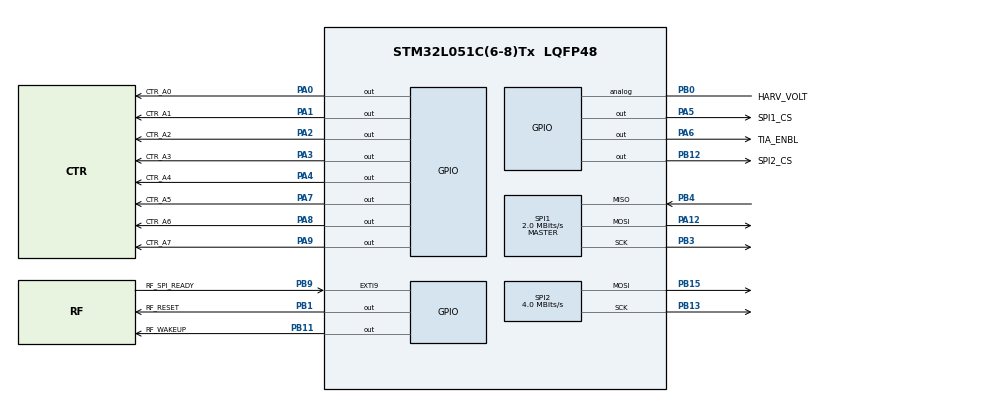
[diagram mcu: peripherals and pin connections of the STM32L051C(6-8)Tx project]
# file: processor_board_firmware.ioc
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Dma.Request0=SPI2_TX
Dma.Request1=SPI1_RX
Dma.Request2=SPI1_TX
Dma.SPI1_RX.1.Direction=DMA_PERIPH_TO_MEMORY
Dma.SPI1_RX.1.Instance=DMA1_Channel2
Dma.SPI1_RX.1.MemDataAlignment=DMA_MDATAALIGN_BYTE
Dma.SPI1_RX.1.MemInc=DMA_MINC_ENABLE
Dma.SPI1_RX.1.Mode=DMA_NORMAL
Dma.SPI1_RX.1.PeriphDataAlignment=DMA_PDATAALIGN_BYTE
Dma.SPI1_RX.1.PeriphInc=DMA_PINC_DISABLE
Dma.SPI1_RX.1.Priority=DMA_PRIORITY_LOW
Dma.SPI1_TX.2.Direction=DMA_MEMORY_TO_PERIPH
Dma.SPI1_TX.2.Instance=DMA1_Channel3
Dma.SPI1_TX.2.MemDataAlignment=DMA_MDATAALIGN_BYTE
Dma.SPI1_TX.2.MemInc=DMA_MINC_ENABLE
Dma.SPI1_TX.2.Mode=DMA_NORMAL
Dma.SPI1_TX.2.PeriphDataAlignment=DMA_PDATAALIGN_BYTE
Dma.SPI1_TX.2.PeriphInc=DMA_PINC_DISABLE
Dma.SPI1_TX.2.Priority=DMA_PRIORITY_LOW
Dma.SPI2_TX.0.Direction=DMA_MEMORY_TO_PERIPH
Dma.SPI2_TX.0.Instance=DMA1_Channel5
Dma.SPI2_TX.0.MemDataAlignment=DMA_MDATAALIGN_BYTE
Dma.SPI2_TX.0.MemInc=DMA_MINC_ENABLE
Dma.SPI2_TX.0.Mode=DMA_NORMAL
Dma.SPI2_TX.0.PeriphDataAlignment=DMA_PDATAALIGN_BYTE
Dma.SPI2_TX.0.PeriphInc=DMA_PINC_DISABLE
Dma.SPI2_TX.0.Priority=DMA_PRIORITY_LOW
LPTIM1.ClockPrescaler=LPTIM_PRESCALER_DIV4
Mcu.Family=STM32L0
Mcu.Name=STM32L051C(6-8)Tx
Mcu.Package=LQFP48
NVIC.DMA1_Channel2_3_IRQn=true\:0\:0\:false\:false\:true\:false\:true\:true
NVIC.DMA1_Channel4_5_6_7_IRQn=true\:0\:0\:false\:false\:true\:false\:true\:true
NVIC.EXTI4_15_IRQn=true\:0\:0\:false\:false\:true\:true\:true\:true
NVIC.LPTIM1_IRQn=true\:0\:0\:false\:false\:true\:true\:true\:true
NVIC.TIM6_DAC_IRQn=true\:0\:0\:false\:false\:true\:true\:true\:true
PA0.GPIO_Label=CTR_A0
PA0.Signal=GPIO_Output
PA1.GPIO_Label=CTR_A1
PA1.Signal=GPIO_Output
PA12.Mode=Full_Duplex_Master
PA12.Signal=SPI1_MOSI
PA13.Mode=Serial_Wire
PA13.Signal=SYS_SWDIO
PA14.Mode=Serial_Wire
PA14.Signal=SYS_SWCLK
PA2.GPIO_Label=CTR_A2
PA2.Signal=GPIO_Output
PA3.GPIO_Label=CTR_A3
PA3.Signal=GPIO_Output
PA4.GPIO_Label=CTR_A4
PA4.Signal=GPIO_Output
PA5.GPIO_Label=SPI1_CS
PA5.PinState=GPIO_PIN_SET
PA5.Signal=GPIO_Output
PA6.GPIO_Label=TIA_ENBL
PA6.Signal=GPIO_Output
PA7.GPIO_Label=CTR_A5
PA7.Signal=GPIO_Output
PA8.GPIO_Label=CTR_A6
PA8.Signal=GPIO_Output
PA9.GPIO_Label=CTR_A7
PA9.Signal=GPIO_Output
PB0.GPIO_Label=HARV_VOLT
PB0.Signal=SharedAnalog_PB0
PB1.GPIO_Label=RF_RESET
PB1.GPIO_ModeDefaultOutputPP=GPIO_MODE_OUTPUT_OD
PB1.GPIO_PuPd=GPIO_NOPULL
PB1.Signal=GPIO_Output
PB11.GPIO_Label=RF_WAKEUP
PB11.Signal=GPIO_Output
PB12.GPIO_Label=SPI2_CS
PB12.PinState=GPIO_PIN_SET
PB12.Signal=GPIO_Output
PB13.Mode=TX_Only_Simplex_Unidirect_Master
PB13.Signal=SPI2_SCK
PB15.Mode=TX_Only_Simplex_Unidirect_Master
PB15.Signal=SPI2_MOSI
PB3.Mode=Full_Duplex_Master
PB3.Signal=SPI1_SCK
PB4.Mode=Full_Duplex_Master
PB4.Signal=SPI1_MISO
PB9.GPIO_Label=RF_SPI_READY
PB9.Signal=GPXTI9
ProjectManager.HeapSize=0x200
ProjectManager.StackSize=0x400
ProjectManager.TargetToolchain=STM32CubeIDE
RCC.AHBFreq_Value=16000000
RCC.APB1Freq_Value=16000000
RCC.APB1TimFreq_Value=16000000
RCC.APB2Freq_Value=16000000
RCC.APB2TimFreq_Value=16000000
RCC.HCLKFreq_Value=16000000
RCC.HSE_VALUE=8000000
RCC.HSI16_VALUE=16000000
RCC.HSI_VALUE=16000000
RCC.LSE_VALUE=32768
RCC.LptimClockSelection=RCC_LPTIM1CLKSOURCE_LSI
RCC.MSIClockRange=RCC_MSIRANGE_6
RCC.MSI_VALUE=4194000
RCC.PLLMUL=RCC_PLLMUL_4
RCC.PWR_Regulator_Voltage_Scale=PWR_REGULATOR_VOLTAGE_SCALE2
RCC.SYSCLKFreq_VALUE=16000000
RCC.SYSCLKSource=RCC_SYSCLKSOURCE_HSI
RCC.VCOOutputFreq_Value=64000000
SH.SharedAnalog_PB0.0=GPIO_Analog
SH.SharedAnalog_PB0.1=ADC_IN8
SPI1.BaudRatePrescaler=SPI_BAUDRATEPRESCALER_8
SPI1.CLKPhase=SPI_PHASE_2EDGE
SPI1.CalculateBaudRate=2.0 MBits/s
SPI1.Direction=SPI_DIRECTION_2LINES
SPI1.Mode=SPI_MODE_MASTER
SPI1.VirtualType=VM_MASTER
SPI2.BaudRatePrescaler=SPI_BAUDRATEPRESCALER_4
SPI2.CalculateBaudRate=4.0 MBits/s
SPI2.Direction=SPI_DIRECTION_2LINES
SPI2.Mode=SPI_MODE_MASTER
SPI2.VirtualType=VM_MASTER
VP_LPTIM1_VS_LPTIM_counterModeInternalClock.Mode=Counts__internal_clock_event_00
VP_TIM6_VS_ClockSourceINT.Mode=Enable_Timer
board=custom

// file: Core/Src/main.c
/* USER CODE BEGIN Header */
/**
  ******************************************************************************
  * @file           : main.c
  * @brief          : Main program body
  ******************************************************************************
  * @attention
  *
  * Copyright (c) 2026 STMicroelectronics.
  * All rights reserved.
  *
  * This software is licensed under terms that can be found in the LICENSE file
  * in the root directory of this software component.
  * If no LICENSE file comes with this software, it is provided AS-IS.
  *
  ******************************************************************************
  */
/* USER CODE END Header */
#include "main.h"

/* USER CODE BEGIN PD */
#define NUM_SENSORS 49
#define RX_BUFFER_SIZE 3
#define TIMEOUT_DURATION 100

#define PACKET_SIZE (NUM_SENSORS * 2) // 98 Bytes

#define FPS 30
#define FRAME_TIMER_PERIOD (37000 / (4 * FPS))

// 30us: 130 -- 620uA
// 50us: 450 -- 680uA total system
// 100us: 1250 -- 800uA
// 200us: 2800 -- 1030 uA
// 400us: 6000 -- 1.55 mA
// 500us: 7800 --1.86mA // at this point, enter stop mode during settling time. This was consuming around 1.1mA
#define SETTLING_TIME_PERIOD 450

#define ENABLE_RF
//#define RX_TESTER
/* USER CODE END PD */

/* USER CODE BEGIN PV */
uint16_t readoutBuffer[NUM_SENSORS]; // Buffer for entire frame
uint8_t rxDataBuffer[RX_BUFFER_SIZE]; // RX buffer for a single sensor
uint8_t txDataBuffer[RX_BUFFER_SIZE]; // TX buffer for a single sensor
uint8_t spi2TxBuffer[PACKET_SIZE];
/* USER CODE END PV */

void SystemClock_Config(void);
static void MX_GPIO_Init(void);
static void MX_DMA_Init(void);
static void MX_SPI2_Init(void);
static void MX_SPI1_Init(void);
static void MX_TIM6_Init(void);
static void MX_LPTIM1_Init(void);
/* USER CODE BEGIN PFP */
void set_mux(uint8_t addr);
void readout_sensors();
void transfer_to_rf();

static void SPI2_start_tx_dma(uint8_t *tx_buf, uint16_t len);
static void SPI1_start_rx_dma();
static void start_frame_timer();
static void start_settling_time_timer();
static void enter_stop_mode();

static void deinit_spi1();
static void reinit_spi1();
static void deinit_spi2();
static void reinit_spi2();
static void deinit_readout_pins();
static void reinit_readout_pins();
static void deinit_rf_pins();
static void reinit_rf_pins();
static void deinit_peripherals();
static void reinit_peripherals();
static void reinit_tim6();
static void deinit_tim6();

#ifdef RX_TESTER
void create_sequential_packet();
uint16_t packet_counter = 0;
#endif

volatile uint8_t spi1_rx_done = 0;
volatile uint8_t spi2_tx_done = 0;
volatile uint8_t addr = 0;
volatile uint8_t lptimer_wakeup_flag = 0;
volatile uint8_t tim6_wakeup_flag = 0;
volatile uint8_t rf_spi_ready_flag = 0;
/* USER CODE END PFP */

int main(void)
{

  /* MCU Configuration--------------------------------------------------------*/

  /* Reset of all peripherals, Initializes the Flash interface and the Systick. */
  LL_APB2_GRP1_EnableClock(LL_APB2_GRP1_PERIPH_SYSCFG);
  LL_APB1_GRP1_EnableClock(LL_APB1_GRP1_PERIPH_PWR);

  /* SysTick_IRQn interrupt configuration */
//  NVIC_SetPriority(SysTick_IRQn, 3);

  /* USER CODE BEGIN Init */
	for (int i = 0; i < NUM_SENSORS; i++) {
		readoutBuffer[i] = 0;
	}
	for (int i = 0; i < PACKET_SIZE; i++) {
		spi2TxBuffer[i] = 0;
	}
  /* USER CODE END Init */

  /* Configure the system clock */
  SystemClock_Config();

  /* Initialize all configured peripherals */
  MX_GPIO_Init();
  MX_DMA_Init();
  MX_SPI2_Init();
  MX_SPI1_Init();
  MX_TIM6_Init();
  MX_LPTIM1_Init();
  /* USER CODE BEGIN 2 */
#ifdef ENABLE_RF
	// Boot RF microcontroller
	LL_GPIO_SetPinMode(RF_RESET_GPIO_Port, RF_RESET_Pin, LL_GPIO_MODE_ANALOG);
	for (volatile int i = 0; i < 10000; i++) {
	  __NOP();
	}
#endif

	deinit_spi1();
	deinit_spi2();
	deinit_readout_pins();
	deinit_rf_pins();
	deinit_tim6();

	start_frame_timer();

	// Use HSI on wakeup
	LL_RCC_SetClkAfterWakeFromStop(LL_RCC_STOP_WAKEUPCLOCK_HSI);
	LL_PWR_SetRegulModeLP(LL_PWR_REGU_LPMODES_LOW_POWER);
	LL_FLASH_EnableSleepPowerDown();
  /* USER CODE END 2 */

  /* Infinite loop */
  /* USER CODE BEGIN WHILE */
  while (1)
  {
	  deinit_peripherals();
	  while (!lptimer_wakeup_flag)
		  enter_stop_mode();
	  lptimer_wakeup_flag = 0;
	  reinit_peripherals();

	  readout_sensors();

#ifdef RX_TESTER
	  create_sequential_packet();
#endif

#ifdef ENABLE_RF
	  transfer_to_rf();
#endif
    /* USER CODE END WHILE */

  }
}

void SystemClock_Config(void)
{
  LL_FLASH_SetLatency(LL_FLASH_LATENCY_1);
  while(LL_FLASH_GetLatency()!= LL_FLASH_LATENCY_1)
  {
  }
  LL_PWR_SetRegulVoltageScaling(LL_PWR_REGU_VOLTAGE_SCALE2);
  while (LL_PWR_IsActiveFlag_VOS() != 0)
  {
  }
  LL_RCC_HSI_Enable();

   /* Wait till HSI is ready */
  while(LL_RCC_HSI_IsReady() != 1)
  {

  }
  LL_RCC_HSI_SetCalibTrimming(16);
  LL_RCC_LSI_Enable();

   /* Wait till LSI is ready */
  while(LL_RCC_LSI_IsReady() != 1)
  {

  }
  LL_RCC_SetAHBPrescaler(LL_RCC_SYSCLK_DIV_1);
  LL_RCC_SetAPB1Prescaler(LL_RCC_APB1_DIV_1);
  LL_RCC_SetAPB2Prescaler(LL_RCC_APB2_DIV_1);
  LL_RCC_SetSysClkSource(LL_RCC_SYS_CLKSOURCE_HSI);

   /* Wait till System clock is ready */
  while(LL_RCC_GetSysClkSource() != LL_RCC_SYS_CLKSOURCE_STATUS_HSI)
  {

  }

//  LL_Init1msTick(16000000);

  LL_SetSystemCoreClock(16000000);
  LL_RCC_SetLPTIMClockSource(LL_RCC_LPTIM1_CLKSOURCE_LSI);
}

static void MX_LPTIM1_Init(void)
{

  /* Peripheral clock enable */
  LL_APB1_GRP1_EnableClock(LL_APB1_GRP1_PERIPH_LPTIM1);

  /* LPTIM1 interrupt Init */
  NVIC_SetPriority(LPTIM1_IRQn, 0);
  NVIC_EnableIRQ(LPTIM1_IRQn);

  LL_LPTIM_SetClockSource(LPTIM1, LL_LPTIM_CLK_SOURCE_INTERNAL);
  LL_LPTIM_SetPrescaler(LPTIM1, LL_LPTIM_PRESCALER_DIV4);
  LL_LPTIM_SetPolarity(LPTIM1, LL_LPTIM_OUTPUT_POLARITY_REGULAR);
  LL_LPTIM_SetUpdateMode(LPTIM1, LL_LPTIM_UPDATE_MODE_IMMEDIATE);
  LL_LPTIM_SetCounterMode(LPTIM1, LL_LPTIM_COUNTER_MODE_INTERNAL);
  LL_LPTIM_TrigSw(LPTIM1);

}

static void MX_SPI1_Init(void)
{

  LL_SPI_InitTypeDef SPI_InitStruct = {0};

  LL_GPIO_InitTypeDef GPIO_InitStruct = {0};

  /* Peripheral clock enable */
  LL_APB2_GRP1_EnableClock(LL_APB2_GRP1_PERIPH_SPI1);

  LL_IOP_GRP1_EnableClock(LL_IOP_GRP1_PERIPH_GPIOA);
  LL_IOP_GRP1_EnableClock(LL_IOP_GRP1_PERIPH_GPIOB);
  /**SPI1 GPIO Configuration
  PA12   ------> SPI1_MOSI
  PB3   ------> SPI1_SCK
  PB4   ------> SPI1_MISO
  */
  GPIO_InitStruct.Pin = LL_GPIO_PIN_12;
  GPIO_InitStruct.Mode = LL_GPIO_MODE_ALTERNATE;
  GPIO_InitStruct.Speed = LL_GPIO_SPEED_FREQ_VERY_HIGH;
  GPIO_InitStruct.OutputType = LL_GPIO_OUTPUT_PUSHPULL;
  GPIO_InitStruct.Pull = LL_GPIO_PULL_NO;
  GPIO_InitStruct.Alternate = LL_GPIO_AF_0;
  LL_GPIO_Init(GPIOA, &GPIO_InitStruct);

  GPIO_InitStruct.Pin = LL_GPIO_PIN_3;
  GPIO_InitStruct.Mode = LL_GPIO_MODE_ALTERNATE;
  GPIO_InitStruct.Speed = LL_GPIO_SPEED_FREQ_VERY_HIGH;
  GPIO_InitStruct.OutputType = LL_GPIO_OUTPUT_PUSHPULL;
  GPIO_InitStruct.Pull = LL_GPIO_PULL_NO;
  GPIO_InitStruct.Alternate = LL_GPIO_AF_0;
  LL_GPIO_Init(GPIOB, &GPIO_InitStruct);

  GPIO_InitStruct.Pin = LL_GPIO_PIN_4;
  GPIO_InitStruct.Mode = LL_GPIO_MODE_ALTERNATE;
  GPIO_InitStruct.Speed = LL_GPIO_SPEED_FREQ_VERY_HIGH;
  GPIO_InitStruct.OutputType = LL_GPIO_OUTPUT_PUSHPULL;
  GPIO_InitStruct.Pull = LL_GPIO_PULL_NO;
  GPIO_InitStruct.Alternate = LL_GPIO_AF_0;
  LL_GPIO_Init(GPIOB, &GPIO_InitStruct);

  /* SPI1 DMA Init */

  /* SPI1_RX Init */
  LL_DMA_SetPeriphRequest(DMA1, LL_DMA_CHANNEL_2, LL_DMA_REQUEST_1);

  LL_DMA_SetDataTransferDirection(DMA1, LL_DMA_CHANNEL_2, LL_DMA_DIRECTION_PERIPH_TO_MEMORY);

  LL_DMA_SetChannelPriorityLevel(DMA1, LL_DMA_CHANNEL_2, LL_DMA_PRIORITY_LOW);

  LL_DMA_SetMode(DMA1, LL_DMA_CHANNEL_2, LL_DMA_MODE_NORMAL);

  LL_DMA_SetPeriphIncMode(DMA1, LL_DMA_CHANNEL_2, LL_DMA_PERIPH_NOINCREMENT);

  LL_DMA_SetMemoryIncMode(DMA1, LL_DMA_CHANNEL_2, LL_DMA_MEMORY_INCREMENT);

  LL_DMA_SetPeriphSize(DMA1, LL_DMA_CHANNEL_2, LL_DMA_PDATAALIGN_BYTE);

  LL_DMA_SetMemorySize(DMA1, LL_DMA_CHANNEL_2, LL_DMA_MDATAALIGN_BYTE);

  /* SPI1_TX Init */
  LL_DMA_SetPeriphRequest(DMA1, LL_DMA_CHANNEL_3, LL_DMA_REQUEST_1);

  LL_DMA_SetDataTransferDirection(DMA1, LL_DMA_CHANNEL_3, LL_DMA_DIRECTION_MEMORY_TO_PERIPH);

  LL_DMA_SetChannelPriorityLevel(DMA1, LL_DMA_CHANNEL_3, LL_DMA_PRIORITY_LOW);

  LL_DMA_SetMode(DMA1, LL_DMA_CHANNEL_3, LL_DMA_MODE_NORMAL);

  LL_DMA_SetPeriphIncMode(DMA1, LL_DMA_CHANNEL_3, LL_DMA_PERIPH_NOINCREMENT);

  LL_DMA_SetMemoryIncMode(DMA1, LL_DMA_CHANNEL_3, LL_DMA_MEMORY_INCREMENT);

  LL_DMA_SetPeriphSize(DMA1, LL_DMA_CHANNEL_3, LL_DMA_PDATAALIGN_BYTE);

  LL_DMA_SetMemorySize(DMA1, LL_DMA_CHANNEL_3, LL_DMA_MDATAALIGN_BYTE);

  /* USER CODE BEGIN SPI1_Init 1 */
  LL_DMA_EnableIT_TC(DMA1, LL_DMA_CHANNEL_2);
  /* USER CODE END SPI1_Init 1 */
  /* SPI1 parameter configuration*/
  SPI_InitStruct.TransferDirection = LL_SPI_FULL_DUPLEX;
  SPI_InitStruct.Mode = LL_SPI_MODE_MASTER;
  SPI_InitStruct.DataWidth = LL_SPI_DATAWIDTH_8BIT;
  SPI_InitStruct.ClockPolarity = LL_SPI_POLARITY_LOW;
  SPI_InitStruct.ClockPhase = LL_SPI_PHASE_2EDGE;
  SPI_InitStruct.NSS = LL_SPI_NSS_SOFT;
  SPI_InitStruct.BaudRate = LL_SPI_BAUDRATEPRESCALER_DIV8;
  SPI_InitStruct.BitOrder = LL_SPI_MSB_FIRST;
  SPI_InitStruct.CRCCalculation = LL_SPI_CRCCALCULATION_DISABLE;
  SPI_InitStruct.CRCPoly = 7;
  LL_SPI_Init(SPI1, &SPI_InitStruct);
  LL_SPI_SetStandard(SPI1, LL_SPI_PROTOCOL_MOTOROLA);

}

static void MX_SPI2_Init(void)
{

  LL_SPI_InitTypeDef SPI_InitStruct = {0};

  LL_GPIO_InitTypeDef GPIO_InitStruct = {0};

  /* Peripheral clock enable */
  LL_APB1_GRP1_EnableClock(LL_APB1_GRP1_PERIPH_SPI2);

  LL_IOP_GRP1_EnableClock(LL_IOP_GRP1_PERIPH_GPIOB);
  /**SPI2 GPIO Configuration
  PB13   ------> SPI2_SCK
  PB15   ------> SPI2_MOSI
  */
  GPIO_InitStruct.Pin = LL_GPIO_PIN_13;
  GPIO_InitStruct.Mode = LL_GPIO_MODE_ALTERNATE;
  GPIO_InitStruct.Speed = LL_GPIO_SPEED_FREQ_VERY_HIGH;
  GPIO_InitStruct.OutputType = LL_GPIO_OUTPUT_PUSHPULL;
  GPIO_InitStruct.Pull = LL_GPIO_PULL_NO;
  GPIO_InitStruct.Alternate = LL_GPIO_AF_0;
  LL_GPIO_Init(GPIOB, &GPIO_InitStruct);

  GPIO_InitStruct.Pin = LL_GPIO_PIN_15;
  GPIO_InitStruct.Mode = LL_GPIO_MODE_ALTERNATE;
  GPIO_InitStruct.Speed = LL_GPIO_SPEED_FREQ_VERY_HIGH;
  GPIO_InitStruct.OutputType = LL_GPIO_OUTPUT_PUSHPULL;
  GPIO_InitStruct.Pull = LL_GPIO_PULL_NO;
  GPIO_InitStruct.Alternate = LL_GPIO_AF_0;
  LL_GPIO_Init(GPIOB, &GPIO_InitStruct);

  /* SPI2 DMA Init */

  /* SPI2_TX Init */
  LL_DMA_SetPeriphRequest(DMA1, LL_DMA_CHANNEL_5, LL_DMA_REQUEST_2);

  LL_DMA_SetDataTransferDirection(DMA1, LL_DMA_CHANNEL_5, LL_DMA_DIRECTION_MEMORY_TO_PERIPH);

  LL_DMA_SetChannelPriorityLevel(DMA1, LL_DMA_CHANNEL_5, LL_DMA_PRIORITY_LOW);

  LL_DMA_SetMode(DMA1, LL_DMA_CHANNEL_5, LL_DMA_MODE_NORMAL);

  LL_DMA_SetPeriphIncMode(DMA1, LL_DMA_CHANNEL_5, LL_DMA_PERIPH_NOINCREMENT);

  LL_DMA_SetMemoryIncMode(DMA1, LL_DMA_CHANNEL_5, LL_DMA_MEMORY_INCREMENT);

  LL_DMA_SetPeriphSize(DMA1, LL_DMA_CHANNEL_5, LL_DMA_PDATAALIGN_BYTE);

  LL_DMA_SetMemorySize(DMA1, LL_DMA_CHANNEL_5, LL_DMA_MDATAALIGN_BYTE);

  /* USER CODE BEGIN SPI2_Init 1 */
  LL_DMA_EnableIT_TC(DMA1, LL_DMA_CHANNEL_5);
  /* USER CODE END SPI2_Init 1 */
  /* SPI2 parameter configuration*/
  SPI_InitStruct.TransferDirection = LL_SPI_FULL_DUPLEX;
  SPI_InitStruct.Mode = LL_SPI_MODE_MASTER;
  SPI_InitStruct.DataWidth = LL_SPI_DATAWIDTH_8BIT;
  SPI_InitStruct.ClockPolarity = LL_SPI_POLARITY_LOW;
  SPI_InitStruct.ClockPhase = LL_SPI_PHASE_1EDGE;
  SPI_InitStruct.NSS = LL_SPI_NSS_SOFT;
  SPI_InitStruct.BaudRate = LL_SPI_BAUDRATEPRESCALER_DIV4;
  SPI_InitStruct.BitOrder = LL_SPI_MSB_FIRST;
  SPI_InitStruct.CRCCalculation = LL_SPI_CRCCALCULATION_DISABLE;
  SPI_InitStruct.CRCPoly = 7;
  LL_SPI_Init(SPI2, &SPI_InitStruct);
  LL_SPI_SetStandard(SPI2, LL_SPI_PROTOCOL_MOTOROLA);

}

static void MX_TIM6_Init(void)
{

  LL_TIM_InitTypeDef TIM_InitStruct = {0};

  /* Peripheral clock enable */
  LL_APB1_GRP1_EnableClock(LL_APB1_GRP1_PERIPH_TIM6);

  /* TIM6 interrupt Init */
  NVIC_SetPriority(TIM6_DAC_IRQn, 0);
  NVIC_EnableIRQ(TIM6_DAC_IRQn);

  TIM_InitStruct.Prescaler = 0;
  TIM_InitStruct.CounterMode = LL_TIM_COUNTERMODE_UP;
  TIM_InitStruct.Autoreload = SETTLING_TIME_PERIOD;
  LL_TIM_Init(TIM6, &TIM_InitStruct);
  LL_TIM_DisableARRPreload(TIM6);
  LL_TIM_SetTriggerOutput(TIM6, LL_TIM_TRGO_RESET);
  LL_TIM_DisableMasterSlaveMode(TIM6);
  /* USER CODE BEGIN TIM6_Init 2 */
  LL_TIM_SetOnePulseMode(TIM6, LL_TIM_ONEPULSEMODE_SINGLE);
  /* USER CODE END TIM6_Init 2 */

}

static void MX_DMA_Init(void)
{

  /* Init with LL driver */
  /* DMA controller clock enable */
  LL_AHB1_GRP1_EnableClock(LL_AHB1_GRP1_PERIPH_DMA1);

  /* DMA interrupt init */
  /* DMA1_Channel2_3_IRQn interrupt configuration */
  NVIC_SetPriority(DMA1_Channel2_3_IRQn, 0);
  NVIC_EnableIRQ(DMA1_Channel2_3_IRQn);
  /* DMA1_Channel4_5_6_7_IRQn interrupt configuration */
  NVIC_SetPriority(DMA1_Channel4_5_6_7_IRQn, 0);
  NVIC_EnableIRQ(DMA1_Channel4_5_6_7_IRQn);

}

static void MX_GPIO_Init(void)
{
  LL_EXTI_InitTypeDef EXTI_InitStruct = {0};
  LL_GPIO_InitTypeDef GPIO_InitStruct = {0};

  /* GPIO Ports Clock Enable */
  LL_IOP_GRP1_EnableClock(LL_IOP_GRP1_PERIPH_GPIOC);
  LL_IOP_GRP1_EnableClock(LL_IOP_GRP1_PERIPH_GPIOH);
  LL_IOP_GRP1_EnableClock(LL_IOP_GRP1_PERIPH_GPIOA);
  LL_IOP_GRP1_EnableClock(LL_IOP_GRP1_PERIPH_GPIOB);

  /**/
  LL_GPIO_ResetOutputPin(CTR_A0_GPIO_Port, CTR_A0_Pin);

  /**/
  LL_GPIO_ResetOutputPin(CTR_A1_GPIO_Port, CTR_A1_Pin);

  /**/
  LL_GPIO_ResetOutputPin(CTR_A2_GPIO_Port, CTR_A2_Pin);

  /**/
  LL_GPIO_ResetOutputPin(CTR_A3_GPIO_Port, CTR_A3_Pin);

  /**/
  LL_GPIO_ResetOutputPin(CTR_A4_GPIO_Port, CTR_A4_Pin);

  /**/
  LL_GPIO_ResetOutputPin(TIA_ENBL_GPIO_Port, TIA_ENBL_Pin);

  /**/
  LL_GPIO_ResetOutputPin(CTR_A5_GPIO_Port, CTR_A5_Pin);

  /**/
  LL_GPIO_ResetOutputPin(RF_RESET_GPIO_Port, RF_RESET_Pin);

  /**/
  LL_GPIO_ResetOutputPin(RF_WAKEUP_GPIO_Port, RF_WAKEUP_Pin);

  /**/
  LL_GPIO_ResetOutputPin(CTR_A6_GPIO_Port, CTR_A6_Pin);

  /**/
  LL_GPIO_ResetOutputPin(CTR_A7_GPIO_Port, CTR_A7_Pin);

  /**/
  LL_GPIO_SetOutputPin(SPI1_CS_GPIO_Port, SPI1_CS_Pin);

  /**/
  LL_GPIO_SetOutputPin(SPI2_CS_GPIO_Port, SPI2_CS_Pin);

  /**/
  GPIO_InitStruct.Pin = LL_GPIO_PIN_13;
  GPIO_InitStruct.Mode = LL_GPIO_MODE_ANALOG;
  GPIO_InitStruct.Pull = LL_GPIO_PULL_NO;
  LL_GPIO_Init(GPIOC, &GPIO_InitStruct);

  /**/
  GPIO_InitStruct.Pin = LL_GPIO_PIN_14;
  GPIO_InitStruct.Mode = LL_GPIO_MODE_ANALOG;
  GPIO_InitStruct.Pull = LL_GPIO_PULL_NO;
  LL_GPIO_Init(GPIOC, &GPIO_InitStruct);

  /**/
  GPIO_InitStruct.Pin = LL_GPIO_PIN_15;
  GPIO_InitStruct.Mode = LL_GPIO_MODE_ANALOG;
  GPIO_InitStruct.Pull = LL_GPIO_PULL_NO;
  LL_GPIO_Init(GPIOC, &GPIO_InitStruct);

  /**/
  GPIO_InitStruct.Pin = LL_GPIO_PIN_0;
  GPIO_InitStruct.Mode = LL_GPIO_MODE_ANALOG;
  GPIO_InitStruct.Pull = LL_GPIO_PULL_NO;
  LL_GPIO_Init(GPIOH, &GPIO_InitStruct);

  /**/
  GPIO_InitStruct.Pin = LL_GPIO_PIN_1;
  GPIO_InitStruct.Mode = LL_GPIO_MODE_ANALOG;
  GPIO_InitStruct.Pull = LL_GPIO_PULL_NO;
  LL_GPIO_Init(GPIOH, &GPIO_InitStruct);

  /**/
  GPIO_InitStruct.Pin = CTR_A0_Pin;
  GPIO_InitStruct.Mode = LL_GPIO_MODE_OUTPUT;
  GPIO_InitStruct.Speed = LL_GPIO_SPEED_FREQ_LOW;
  GPIO_InitStruct.OutputType = LL_GPIO_OUTPUT_PUSHPULL;
  GPIO_InitStruct.Pull = LL_GPIO_PULL_NO;
  LL_GPIO_Init(CTR_A0_GPIO_Port, &GPIO_InitStruct);

  /**/
  GPIO_InitStruct.Pin = CTR_A1_Pin;
  GPIO_InitStruct.Mode = LL_GPIO_MODE_OUTPUT;
  GPIO_InitStruct.Speed = LL_GPIO_SPEED_FREQ_LOW;
  GPIO_InitStruct.OutputType = LL_GPIO_OUTPUT_PUSHPULL;
  GPIO_InitStruct.Pull = LL_GPIO_PULL_NO;
  LL_GPIO_Init(CTR_A1_GPIO_Port, &GPIO_InitStruct);

  /**/
  GPIO_InitStruct.Pin = CTR_A2_Pin;
  GPIO_InitStruct.Mode = LL_GPIO_MODE_OUTPUT;
  GPIO_InitStruct.Speed = LL_GPIO_SPEED_FREQ_LOW;
  GPIO_InitStruct.OutputType = LL_GPIO_OUTPUT_PUSHPULL;
  GPIO_InitStruct.Pull = LL_GPIO_PULL_NO;
  LL_GPIO_Init(CTR_A2_GPIO_Port, &GPIO_InitStruct);

  /**/
  GPIO_InitStruct.Pin = CTR_A3_Pin;
  GPIO_InitStruct.Mode = LL_GPIO_MODE_OUTPUT;
  GPIO_InitStruct.Speed = LL_GPIO_SPEED_FREQ_LOW;
  GPIO_InitStruct.OutputType = LL_GPIO_OUTPUT_PUSHPULL;
  GPIO_InitStruct.Pull = LL_GPIO_PULL_NO;
  LL_GPIO_Init(CTR_A3_GPIO_Port, &GPIO_InitStruct);

  /**/
  GPIO_InitStruct.Pin = CTR_A4_Pin;
  GPIO_InitStruct.Mode = LL_GPIO_MODE_OUTPUT;
  GPIO_InitStruct.Speed = LL_GPIO_SPEED_FREQ_LOW;
  GPIO_InitStruct.OutputType = LL_GPIO_OUTPUT_PUSHPULL;
  GPIO_InitStruct.Pull = LL_GPIO_PULL_NO;
  LL_GPIO_Init(CTR_A4_GPIO_Port, &GPIO_InitStruct);

  /**/
  GPIO_InitStruct.Pin = SPI1_CS_Pin;
  GPIO_InitStruct.Mode = LL_GPIO_MODE_OUTPUT;
  GPIO_InitStruct.Speed = LL_GPIO_SPEED_FREQ_LOW;
  GPIO_InitStruct.OutputType = LL_GPIO_OUTPUT_PUSHPULL;
  GPIO_InitStruct.Pull = LL_GPIO_PULL_NO;
  LL_GPIO_Init(SPI1_CS_GPIO_Port, &GPIO_InitStruct);

  /**/
  GPIO_InitStruct.Pin = TIA_ENBL_Pin;
  GPIO_InitStruct.Mode = LL_GPIO_MODE_OUTPUT;
  GPIO_InitStruct.Speed = LL_GPIO_SPEED_FREQ_LOW;
  GPIO_InitStruct.OutputType = LL_GPIO_OUTPUT_PUSHPULL;
  GPIO_InitStruct.Pull = LL_GPIO_PULL_NO;
  LL_GPIO_Init(TIA_ENBL_GPIO_Port, &GPIO_InitStruct);

  /**/
  GPIO_InitStruct.Pin = CTR_A5_Pin;
  GPIO_InitStruct.Mode = LL_GPIO_MODE_OUTPUT;
  GPIO_InitStruct.Speed = LL_GPIO_SPEED_FREQ_LOW;
  GPIO_InitStruct.OutputType = LL_GPIO_OUTPUT_PUSHPULL;
  GPIO_InitStruct.Pull = LL_GPIO_PULL_NO;
  LL_GPIO_Init(CTR_A5_GPIO_Port, &GPIO_InitStruct);

  /**/
  GPIO_InitStruct.Pin = HARV_VOLT_Pin;
  GPIO_InitStruct.Mode = LL_GPIO_MODE_ANALOG;
  GPIO_InitStruct.Pull = LL_GPIO_PULL_NO;
  LL_GPIO_Init(HARV_VOLT_GPIO_Port, &GPIO_InitStruct);

  /**/
  GPIO_InitStruct.Pin = RF_RESET_Pin;
  GPIO_InitStruct.Mode = LL_GPIO_MODE_OUTPUT;
  GPIO_InitStruct.Speed = LL_GPIO_SPEED_FREQ_LOW;
  GPIO_InitStruct.OutputType = LL_GPIO_OUTPUT_OPENDRAIN;
  GPIO_InitStruct.Pull = LL_GPIO_PULL_NO;
  LL_GPIO_Init(RF_RESET_GPIO_Port, &GPIO_InitStruct);

  /**/
  GPIO_InitStruct.Pin = LL_GPIO_PIN_2;
  GPIO_InitStruct.Mode = LL_GPIO_MODE_ANALOG;
  GPIO_InitStruct.Pull = LL_GPIO_PULL_NO;
  LL_GPIO_Init(GPIOB, &GPIO_InitStruct);

  /**/
  GPIO_InitStruct.Pin = LL_GPIO_PIN_10;
  GPIO_InitStruct.Mode = LL_GPIO_MODE_ANALOG;
  GPIO_InitStruct.Pull = LL_GPIO_PULL_NO;
  LL_GPIO_Init(GPIOB, &GPIO_InitStruct);

  /**/
  GPIO_InitStruct.Pin = RF_WAKEUP_Pin;
  GPIO_InitStruct.Mode = LL_GPIO_MODE_OUTPUT;
  GPIO_InitStruct.Speed = LL_GPIO_SPEED_FREQ_LOW;
  GPIO_InitStruct.OutputType = LL_GPIO_OUTPUT_PUSHPULL;
  GPIO_InitStruct.Pull = LL_GPIO_PULL_NO;
  LL_GPIO_Init(RF_WAKEUP_GPIO_Port, &GPIO_InitStruct);

  /**/
  GPIO_InitStruct.Pin = SPI2_CS_Pin;
  GPIO_InitStruct.Mode = LL_GPIO_MODE_OUTPUT;
  GPIO_InitStruct.Speed = LL_GPIO_SPEED_FREQ_LOW;
  GPIO_InitStruct.OutputType = LL_GPIO_OUTPUT_PUSHPULL;
  GPIO_InitStruct.Pull = LL_GPIO_PULL_NO;
  LL_GPIO_Init(SPI2_CS_GPIO_Port, &GPIO_InitStruct);

  /**/
  GPIO_InitStruct.Pin = LL_GPIO_PIN_14;
  GPIO_InitStruct.Mode = LL_GPIO_MODE_ANALOG;
  GPIO_InitStruct.Pull = LL_GPIO_PULL_NO;
  LL_GPIO_Init(GPIOB, &GPIO_InitStruct);

  /**/
  GPIO_InitStruct.Pin = CTR_A6_Pin;
  GPIO_InitStruct.Mode = LL_GPIO_MODE_OUTPUT;
  GPIO_InitStruct.Speed = LL_GPIO_SPEED_FREQ_LOW;
  GPIO_InitStruct.OutputType = LL_GPIO_OUTPUT_PUSHPULL;
  GPIO_InitStruct.Pull = LL_GPIO_PULL_NO;
  LL_GPIO_Init(CTR_A6_GPIO_Port, &GPIO_InitStruct);

  /**/
  GPIO_InitStruct.Pin = CTR_A7_Pin;
  GPIO_InitStruct.Mode = LL_GPIO_MODE_OUTPUT;
  GPIO_InitStruct.Speed = LL_GPIO_SPEED_FREQ_LOW;
  GPIO_InitStruct.OutputType = LL_GPIO_OUTPUT_PUSHPULL;
  GPIO_InitStruct.Pull = LL_GPIO_PULL_NO;
  LL_GPIO_Init(CTR_A7_GPIO_Port, &GPIO_InitStruct);

  /**/
  GPIO_InitStruct.Pin = LL_GPIO_PIN_10;
  GPIO_InitStruct.Mode = LL_GPIO_MODE_ANALOG;
  GPIO_InitStruct.Pull = LL_GPIO_PULL_NO;
  LL_GPIO_Init(GPIOA, &GPIO_InitStruct);

  /**/
  GPIO_InitStruct.Pin = LL_GPIO_PIN_11;
  GPIO_InitStruct.Mode = LL_GPIO_MODE_ANALOG;
  GPIO_InitStruct.Pull = LL_GPIO_PULL_NO;
  LL_GPIO_Init(GPIOA, &GPIO_InitStruct);

  /**/
  GPIO_InitStruct.Pin = LL_GPIO_PIN_15;
  GPIO_InitStruct.Mode = LL_GPIO_MODE_ANALOG;
  GPIO_InitStruct.Pull = LL_GPIO_PULL_NO;
  LL_GPIO_Init(GPIOA, &GPIO_InitStruct);

  /**/
  GPIO_InitStruct.Pin = LL_GPIO_PIN_5;
  GPIO_InitStruct.Mode = LL_GPIO_MODE_ANALOG;
  GPIO_InitStruct.Pull = LL_GPIO_PULL_NO;
  LL_GPIO_Init(GPIOB, &GPIO_InitStruct);

  /**/
  GPIO_InitStruct.Pin = LL_GPIO_PIN_6;
  GPIO_InitStruct.Mode = LL_GPIO_MODE_ANALOG;
  GPIO_InitStruct.Pull = LL_GPIO_PULL_NO;
  LL_GPIO_Init(GPIOB, &GPIO_InitStruct);

  /**/
  GPIO_InitStruct.Pin = LL_GPIO_PIN_7;
  GPIO_InitStruct.Mode = LL_GPIO_MODE_ANALOG;
  GPIO_InitStruct.Pull = LL_GPIO_PULL_NO;
  LL_GPIO_Init(GPIOB, &GPIO_InitStruct);

  /**/
  GPIO_InitStruct.Pin = LL_GPIO_PIN_8;
  GPIO_InitStruct.Mode = LL_GPIO_MODE_ANALOG;
  GPIO_InitStruct.Pull = LL_GPIO_PULL_NO;
  LL_GPIO_Init(GPIOB, &GPIO_InitStruct);

  /**/
  LL_SYSCFG_SetEXTISource(LL_SYSCFG_EXTI_PORTB, LL_SYSCFG_EXTI_LINE9);

  /**/
  LL_GPIO_SetPinPull(RF_SPI_READY_GPIO_Port, RF_SPI_READY_Pin, LL_GPIO_PULL_NO);

  /**/
  LL_GPIO_SetPinMode(RF_SPI_READY_GPIO_Port, RF_SPI_READY_Pin, LL_GPIO_MODE_INPUT);

  /**/
  EXTI_InitStruct.Line_0_31 = LL_EXTI_LINE_9;
  EXTI_InitStruct.LineCommand = ENABLE;
  EXTI_InitStruct.Mode = LL_EXTI_MODE_IT;
  EXTI_InitStruct.Trigger = LL_EXTI_TRIGGER_RISING;
  LL_EXTI_Init(&EXTI_InitStruct);

  /* EXTI interrupt init*/
  NVIC_SetPriority(EXTI4_15_IRQn, 0);
  NVIC_EnableIRQ(EXTI4_15_IRQn);

}

/* USER CODE BEGIN 4 */
void set_mux(uint8_t address) {
    // First clear all CTR pins
    LL_GPIO_ResetOutputPin(
    		CTR_A0_GPIO_Port,
			CTR_A0_Pin | CTR_A1_Pin | CTR_A2_Pin | CTR_A3_Pin | CTR_A4_Pin | CTR_A5_Pin | CTR_A6_Pin | CTR_A7_Pin);

    if (address < 48) {
    	// Lower 4 bits
		LL_GPIO_SetOutputPin(CTR_A0_GPIO_Port, (uint32_t) (address & 0xF));
		if (address < 16)
			LL_GPIO_SetOutputPin(CTR_A4_GPIO_Port, CTR_A4_Pin);
		else if (address < 32)
			LL_GPIO_SetOutputPin(CTR_A5_GPIO_Port, CTR_A5_Pin);
		else
			LL_GPIO_SetOutputPin(CTR_A6_GPIO_Port, CTR_A6_Pin);
    } else if (address == 48) {
    	LL_GPIO_SetOutputPin(CTR_A7_GPIO_Port, CTR_A7_Pin);
    }
}

void readout_sensors() {
#if (SETTLING_TIME_PERIOD > 0)
	reinit_tim6();
#endif
	reinit_spi1();
	reinit_readout_pins();

	// J12, Mux 11, addr=10
	// J13, Mux 12, addr=11
	LL_DMA_SetPeriphAddress(DMA1, LL_DMA_CHANNEL_2, LL_SPI_DMA_GetRegAddr(SPI1));
	LL_DMA_SetMemoryAddress(DMA1, LL_DMA_CHANNEL_2, (uint32_t) rxDataBuffer);

	// Configure TX
	LL_DMA_SetPeriphAddress(DMA1, LL_DMA_CHANNEL_3, LL_SPI_DMA_GetRegAddr(SPI1));
	LL_DMA_SetMemoryAddress(DMA1, LL_DMA_CHANNEL_3, (uint32_t) txDataBuffer);

	LL_SPI_EnableDMAReq_RX(SPI1);
	LL_SPI_EnableDMAReq_TX(SPI1);

	addr = 0;
	set_mux(addr);
	LL_GPIO_SetOutputPin(SPI1_CS_GPIO_Port, SPI1_CS_Pin); // Set CS
	LL_GPIO_SetOutputPin(TIA_ENBL_GPIO_Port, TIA_ENBL_Pin); // Set TIA ENABLE

	while (addr < NUM_SENSORS) {
#if (SETTLING_TIME_PERIOD > 0)
		// Wait for settling time
		start_settling_time_timer();
		while (!tim6_wakeup_flag)
			__WFI();
		tim6_wakeup_flag = 0;
#endif

		// Start SPI readout
		SPI1_start_rx_dma();
		while (!spi1_rx_done) {
			__WFI();
		}
		spi1_rx_done = 0;

		readoutBuffer[addr] = ((rxDataBuffer[0] << 16) | (rxDataBuffer[1] << 8) | (rxDataBuffer[2])) >> 2;
		addr++;
	}

	LL_GPIO_ResetOutputPin(TIA_ENBL_GPIO_Port, TIA_ENBL_Pin);

	LL_SPI_DisableDMAReq_RX(SPI1);
	LL_SPI_DisableDMAReq_TX(SPI1);

#if (SETTLING_TIME_PERIOD > 0)
	deinit_tim6();
#endif
	deinit_spi1();
	deinit_readout_pins();
}

void transfer_to_rf() {
	reinit_spi2();
	reinit_rf_pins();

	// Transfer readoutBuffer to spi2TxBuffer
	for (int i = 0; i < NUM_SENSORS; i++) {
		spi2TxBuffer[i * 2] = (uint8_t) (readoutBuffer[i] & 0xFF);
		spi2TxBuffer[i * 2 + 1] = (uint8_t) ((readoutBuffer[i] >> 8) & 0xFF);
	}

	rf_spi_ready_flag = 0;
	LL_GPIO_SetOutputPin(RF_WAKEUP_GPIO_Port, RF_WAKEUP_Pin);

	// Sleep until RF MCU signals ready — wakes via EXTI
	deinit_peripherals();
	while (!rf_spi_ready_flag)
		enter_stop_mode();
	reinit_peripherals();

	SPI2_start_tx_dma(spi2TxBuffer, PACKET_SIZE);
	while (!spi2_tx_done) {
		__WFI();
	}
	spi2_tx_done = 0;

	LL_GPIO_ResetOutputPin(RF_WAKEUP_GPIO_Port, RF_WAKEUP_Pin);

	deinit_spi2();
	deinit_rf_pins();
}

#ifdef RX_TESTER
void create_sequential_packet() {
	readoutBuffer[0] = packet_counter;
	for (uint16_t i = 1; i < NUM_SENSORS; i++) {
		readoutBuffer[i] = i;
	}
	packet_counter++;
}
#endif

static void SPI1_start_rx_dma() {
	LL_DMA_ClearFlag_GI2(DMA1);

	// Configure RX
	LL_DMA_SetDataLength(DMA1, LL_DMA_CHANNEL_2, RX_BUFFER_SIZE);

	// Configure TX
	LL_DMA_SetDataLength(DMA1, LL_DMA_CHANNEL_3, RX_BUFFER_SIZE);

    LL_DMA_EnableChannel(DMA1, LL_DMA_CHANNEL_2);
    LL_DMA_EnableChannel(DMA1, LL_DMA_CHANNEL_3);

	// CS Falling edge and then start SPI receive
	LL_GPIO_ResetOutputPin(SPI1_CS_GPIO_Port, SPI1_CS_Pin);
    LL_SPI_Enable(SPI1);

	// Disable current TIA
	LL_GPIO_ResetOutputPin(TIA_ENBL_GPIO_Port, TIA_ENBL_Pin);
}

void SPI1_RX_DMA_Callback() {
	if (LL_DMA_IsActiveFlag_TC2(DMA1)) {
		LL_GPIO_SetOutputPin(SPI1_CS_GPIO_Port, SPI1_CS_Pin); // Set CS

		set_mux(addr + 1);

		LL_GPIO_SetOutputPin(TIA_ENBL_GPIO_Port, TIA_ENBL_Pin); // Set TIA ENABLE

		LL_DMA_DisableChannel(DMA1, LL_DMA_CHANNEL_2);
		LL_DMA_DisableChannel(DMA1, LL_DMA_CHANNEL_3);

		LL_DMA_ClearFlag_TC2(DMA1);

		LL_SPI_Disable(SPI1);

		spi1_rx_done = 1;
	} else {
		Error_Handler();
	}
}

static void SPI2_start_tx_dma(uint8_t *tx_buf, uint16_t len) {
	LL_DMA_DisableChannel(DMA1, LL_DMA_CHANNEL_5);

	LL_DMA_ClearFlag_GI5(DMA1);

	// Configure TX
	LL_DMA_SetPeriphAddress(DMA1, LL_DMA_CHANNEL_5, LL_SPI_DMA_GetRegAddr(SPI2));
	LL_DMA_SetMemoryAddress(DMA1, LL_DMA_CHANNEL_5, (uint32_t) tx_buf);
	LL_DMA_SetDataLength(DMA1, LL_DMA_CHANNEL_5, len);

	// CS low
	LL_GPIO_ResetOutputPin(SPI2_CS_GPIO_Port, SPI2_CS_Pin);

    LL_SPI_EnableDMAReq_TX(SPI2);

    LL_DMA_EnableChannel(DMA1, LL_DMA_CHANNEL_5);

    LL_SPI_Enable(SPI2);
}

void SPI2_TX_DMA_Callback() {
	LL_DMA_DisableChannel(DMA1, LL_DMA_CHANNEL_5);

	LL_DMA_ClearFlag_TC5(DMA1);

	LL_SPI_Disable(SPI2);

	LL_SPI_DisableDMAReq_TX(SPI2);

	// CS high
	LL_GPIO_SetOutputPin(SPI2_CS_GPIO_Port, SPI2_CS_Pin);

	spi2_tx_done = 1;
}

void start_frame_timer(void) {
    LL_LPTIM_ClearFlag_ARRM(LPTIM1);
    LL_LPTIM_EnableIT_ARRM(LPTIM1);

    LL_LPTIM_Enable(LPTIM1);
    LL_LPTIM_SetAutoReload(LPTIM1, FRAME_TIMER_PERIOD);

    LL_LPTIM_StartCounter(LPTIM1, LL_LPTIM_OPERATING_MODE_CONTINUOUS);
}

void start_settling_time_timer() {
    LL_TIM_SetCounter(TIM6, 0);
    LL_TIM_ClearFlag_UPDATE(TIM6);
    LL_TIM_EnableIT_UPDATE(TIM6);
    LL_TIM_EnableCounter(TIM6);
}

void enter_stop_mode() {
	LL_PWR_SetPowerMode(LL_PWR_MODE_STOP);
	LL_LPM_EnableDeepSleep();
	LL_PWR_ClearFlag_WU();
	__WFI();

	// clear deep sleep bit after waking up
	LL_LPM_EnableSleep();
}

static void deinit_spi1() {
    // Set SPI1 pins to analog
    LL_GPIO_SetPinMode(GPIOA, LL_GPIO_PIN_12, LL_GPIO_MODE_ANALOG); // MOSI
    LL_GPIO_SetPinMode(GPIOB, LL_GPIO_PIN_3,  LL_GPIO_MODE_ANALOG); // SCK
    LL_GPIO_SetPinMode(GPIOB, LL_GPIO_PIN_4,  LL_GPIO_MODE_ANALOG); // MISO
    LL_GPIO_SetPinMode(SPI1_CS_GPIO_Port, SPI1_CS_Pin, LL_GPIO_MODE_ANALOG); // CS

    LL_APB2_GRP1_DisableClock(LL_APB2_GRP1_PERIPH_SPI1);
}

static void reinit_spi1() {
    LL_APB2_GRP1_EnableClock(LL_APB2_GRP1_PERIPH_SPI1);

    // Restore SPI1 pins
    LL_GPIO_SetPinMode(GPIOA, LL_GPIO_PIN_12, LL_GPIO_MODE_ALTERNATE);
    LL_GPIO_SetPinMode(GPIOB, LL_GPIO_PIN_3,  LL_GPIO_MODE_ALTERNATE);
    LL_GPIO_SetPinMode(GPIOB, LL_GPIO_PIN_4,  LL_GPIO_MODE_ALTERNATE);
    LL_GPIO_SetPinMode(SPI1_CS_GPIO_Port, SPI1_CS_Pin, LL_GPIO_MODE_OUTPUT);
}

static void deinit_spi2() {
    LL_GPIO_SetPinMode(GPIOB, LL_GPIO_PIN_13, LL_GPIO_MODE_ANALOG); // SCK
    LL_GPIO_SetPinMode(GPIOB, LL_GPIO_PIN_15, LL_GPIO_MODE_ANALOG); // MOSI
    LL_GPIO_SetPinMode(SPI2_CS_GPIO_Port, SPI2_CS_Pin, LL_GPIO_MODE_ANALOG); // CS
    LL_APB1_GRP1_DisableClock(LL_APB1_GRP1_PERIPH_SPI2);
}

static void reinit_spi2() {
    LL_APB1_GRP1_EnableClock(LL_APB1_GRP1_PERIPH_SPI2);
    LL_GPIO_SetPinMode(GPIOB, LL_GPIO_PIN_13, LL_GPIO_MODE_ALTERNATE);
    LL_GPIO_SetPinMode(GPIOB, LL_GPIO_PIN_15, LL_GPIO_MODE_ALTERNATE);
    LL_GPIO_SetPinMode(SPI2_CS_GPIO_Port, SPI2_CS_Pin, LL_GPIO_MODE_OUTPUT);
}

static void deinit_readout_pins() {
    // Set mux pins to analog
    LL_GPIO_SetPinMode(CTR_A0_GPIO_Port, CTR_A0_Pin, LL_GPIO_MODE_ANALOG);
    LL_GPIO_SetPinMode(CTR_A1_GPIO_Port, CTR_A1_Pin, LL_GPIO_MODE_ANALOG);
    LL_GPIO_SetPinMode(CTR_A2_GPIO_Port, CTR_A2_Pin, LL_GPIO_MODE_ANALOG);
    LL_GPIO_SetPinMode(CTR_A3_GPIO_Port, CTR_A3_Pin, LL_GPIO_MODE_ANALOG);
    LL_GPIO_SetPinMode(CTR_A4_GPIO_Port, CTR_A4_Pin, LL_GPIO_MODE_ANALOG);
    LL_GPIO_SetPinMode(CTR_A5_GPIO_Port, CTR_A5_Pin, LL_GPIO_MODE_ANALOG);
    LL_GPIO_SetPinMode(CTR_A6_GPIO_Port, CTR_A6_Pin, LL_GPIO_MODE_ANALOG);
    LL_GPIO_SetPinMode(CTR_A7_GPIO_Port, CTR_A7_Pin, LL_GPIO_MODE_ANALOG);

    LL_GPIO_SetPinMode(TIA_ENBL_GPIO_Port, TIA_ENBL_Pin, LL_GPIO_MODE_ANALOG);
    LL_GPIO_SetPinMode(SPI1_CS_GPIO_Port, SPI1_CS_Pin, LL_GPIO_MODE_ANALOG);
}

static void reinit_readout_pins() {
    // Restore mux pins
    LL_GPIO_SetPinMode(CTR_A0_GPIO_Port, CTR_A0_Pin, LL_GPIO_MODE_OUTPUT);
    LL_GPIO_SetPinMode(CTR_A1_GPIO_Port, CTR_A1_Pin, LL_GPIO_MODE_OUTPUT);
    LL_GPIO_SetPinMode(CTR_A2_GPIO_Port, CTR_A2_Pin, LL_GPIO_MODE_OUTPUT);
    LL_GPIO_SetPinMode(CTR_A3_GPIO_Port, CTR_A3_Pin, LL_GPIO_MODE_OUTPUT);
    LL_GPIO_SetPinMode(CTR_A4_GPIO_Port, CTR_A4_Pin, LL_GPIO_MODE_OUTPUT);
    LL_GPIO_SetPinMode(CTR_A5_GPIO_Port, CTR_A5_Pin, LL_GPIO_MODE_OUTPUT);
    LL_GPIO_SetPinMode(CTR_A6_GPIO_Port, CTR_A6_Pin, LL_GPIO_MODE_OUTPUT);
    LL_GPIO_SetPinMode(CTR_A7_GPIO_Port, CTR_A7_Pin, LL_GPIO_MODE_OUTPUT);

    LL_GPIO_SetPinMode(TIA_ENBL_GPIO_Port, TIA_ENBL_Pin, LL_GPIO_MODE_OUTPUT);
    LL_GPIO_SetPinMode(SPI1_CS_GPIO_Port, SPI1_CS_Pin, LL_GPIO_MODE_OUTPUT);
}

static void deinit_rf_pins() {
    // RF pins
    LL_GPIO_SetPinMode(RF_WAKEUP_GPIO_Port, RF_WAKEUP_Pin, LL_GPIO_MODE_ANALOG);
	LL_GPIO_SetPinMode(RF_SPI_READY_GPIO_Port, RF_SPI_READY_Pin, LL_GPIO_MODE_ANALOG);
    // Do not modify RF_RESET
}

static void reinit_rf_pins() {
    // RF pins
    LL_GPIO_SetPinMode(RF_WAKEUP_GPIO_Port, RF_WAKEUP_Pin, LL_GPIO_MODE_OUTPUT);
	LL_GPIO_SetPinMode(RF_SPI_READY_GPIO_Port, RF_SPI_READY_Pin, LL_GPIO_MODE_INPUT);
    // Do not modify RF_RESET
}

static void deinit_peripherals() {
    // Disable clocks
    LL_AHB1_GRP1_DisableClock(LL_AHB1_GRP1_PERIPH_DMA1);
    LL_IOP_GRP1_DisableClock(LL_IOP_GRP1_PERIPH_GPIOA);
    LL_IOP_GRP1_DisableClock(LL_IOP_GRP1_PERIPH_GPIOB);
    LL_IOP_GRP1_DisableClock(LL_IOP_GRP1_PERIPH_GPIOC);
    LL_IOP_GRP1_DisableClock(LL_IOP_GRP1_PERIPH_GPIOH);
}

static void reinit_peripherals() {
    // Re-enable clocks
    LL_AHB1_GRP1_EnableClock(LL_AHB1_GRP1_PERIPH_DMA1);
    LL_IOP_GRP1_EnableClock(LL_IOP_GRP1_PERIPH_GPIOA);
    LL_IOP_GRP1_EnableClock(LL_IOP_GRP1_PERIPH_GPIOB);
    LL_IOP_GRP1_EnableClock(LL_IOP_GRP1_PERIPH_GPIOC);
    LL_IOP_GRP1_EnableClock(LL_IOP_GRP1_PERIPH_GPIOH);
}

static void deinit_tim6() {
	LL_APB1_GRP1_DisableClock(LL_APB1_GRP1_PERIPH_TIM6);
}

static void reinit_tim6() {
	LL_APB1_GRP1_EnableClock(LL_APB1_GRP1_PERIPH_TIM6);
}

/* USER CODE END 4 */

void Error_Handler(void)
{
  __disable_irq();
  while (1)
  {
  }
}
